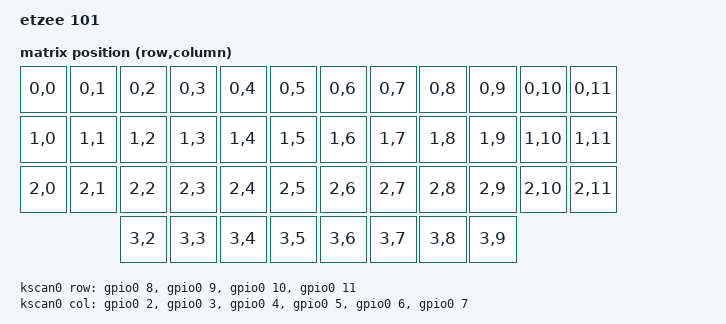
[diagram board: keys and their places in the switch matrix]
/dts-v1/;
#include <nordic/nrf52840_qiaa.dtsi>
#include "etzee_101-pinctrl.dtsi"

#include <dt-bindings/zmk/matrix_transform.h>

/ {
    model = "etzee 101";
    compatible = "zmk,keyboard";

    chosen {
        zmk,kscan = &kscan0;
        zmk,matrix-transform = &default_transform;
        zephyr,console = &uart0;
        zephyr,shell-uart = &uart0;
        zephyr,code-partition = &code_partition;
        zephyr,sram = &sram0;
        zephyr,flash = &flash0;
    };

    default_transform: keymap_transform_0 {
        compatible = "zmk,matrix-transform";
        columns = <12>;
        rows = <4>;
        
// | SW01 | SW02 | SW03 | SW04 | SW05 | SW06 |   | SW07 | SW08 | SW09 | SW10 | SW11 | SW12 |
// | SW13 | SW14 | SW15 | SW16 | SW17 | SW18 |   | SW19 | SW20 | SW21 | SW22 | SW23 | SW24 |
// | SW25 | SW26 | SW27 | SW28 | SW29 | SW30 |   | SW31 | SW32 | SW33 | SW34 | SW35 | SW36 |
//               | SW37 | SW38 | SW39 | SW40 |   | SW41 | SW42 | SW43 | SW44 |
        map = <
RC(0,0) RC(0,1) RC(0,2) RC(0,3) RC(0,4) RC(0,5)  RC(0,6) RC(0,7) RC(0,8) RC(0,9) RC(0,10) RC(0,11)
RC(1,0) RC(1,1) RC(1,2) RC(1,3) RC(1,4) RC(1,5)  RC(1,6) RC(1,7) RC(1,8) RC(1,9) RC(1,10) RC(1,11)
RC(2,0) RC(2,1) RC(2,2) RC(2,3) RC(2,4) RC(2,5)  RC(2,6) RC(2,7) RC(2,8) RC(2,9) RC(2,10) RC(2,11)
                RC(3,2) RC(3,3) RC(3,4) RC(3,5)  RC(3,6) RC(3,7) RC(3,8) RC(3,9)
        >;
    };

    kscan0: kscan {
        compatible = "zmk,kscan-gpio-matrix";
        wakeup-source;

        diode-direction = "row2col";

        col-gpios =
            <&gpio0 2 GPIO_ACTIVE_HIGH>,
            <&gpio0 3 GPIO_ACTIVE_HIGH>,
            <&gpio0 4 GPIO_ACTIVE_HIGH>,
            <&gpio0 5 GPIO_ACTIVE_HIGH>,
            <&gpio0 6 GPIO_ACTIVE_HIGH>,
            <&gpio0 7 GPIO_ACTIVE_HIGH>;

        row-gpios =
            <&gpio0 8 (GPIO_PULL_UP | GPIO_ACTIVE_LOW)>,
            <&gpio0 9 (GPIO_PULL_UP | GPIO_ACTIVE_LOW)>,
            <&gpio0 10 (GPIO_PULL_UP | GPIO_ACTIVE_LOW)>,
            <&gpio0 11 (GPIO_PULL_UP | GPIO_ACTIVE_LOW)>;
    };

    dr_int: dr_int {
        compatible = "gpio-input";
        label = "DR Interrupt";
        gpios = <&gpio1 11 (GPIO_PULL_DOWN | GPIO_ACTIVE_HIGH)>;
    };
};

&gpiote {
    status = "okay";
};

&gpio0 {
    status = "okay";
};

&gpio1 {
    status = "okay";
};

&uart0 {
    compatible = "nordic,nrf-uarte";
    current-speed = <115200>;
    pinctrl-0 = <&uart0_default>;
    pinctrl-1 = <&uart0_sleep>;
    pinctrl-names = "default", "sleep";
};

zephyr_udc0: &usbd {
    status = "okay";
};

&flash0 {
    partitions {
        compatible = "fixed-partitions";
        #address-cells = <1>;
        #size-cells = <1>;

        sd_partition: partition@0 {
            reg = <0x00000000 0x00026000>;
        };
        code_partition: partition@26000 {
            reg = <0x00026000 0x000c6000>;
        };

        storage_partition: partition@ec000 {
            reg = <0x000ec000 0x00008000>;
        };

        boot_partition: partition@f4000 {
            reg = <0x000f4000 0x0000c000>;
        };
    };
};

